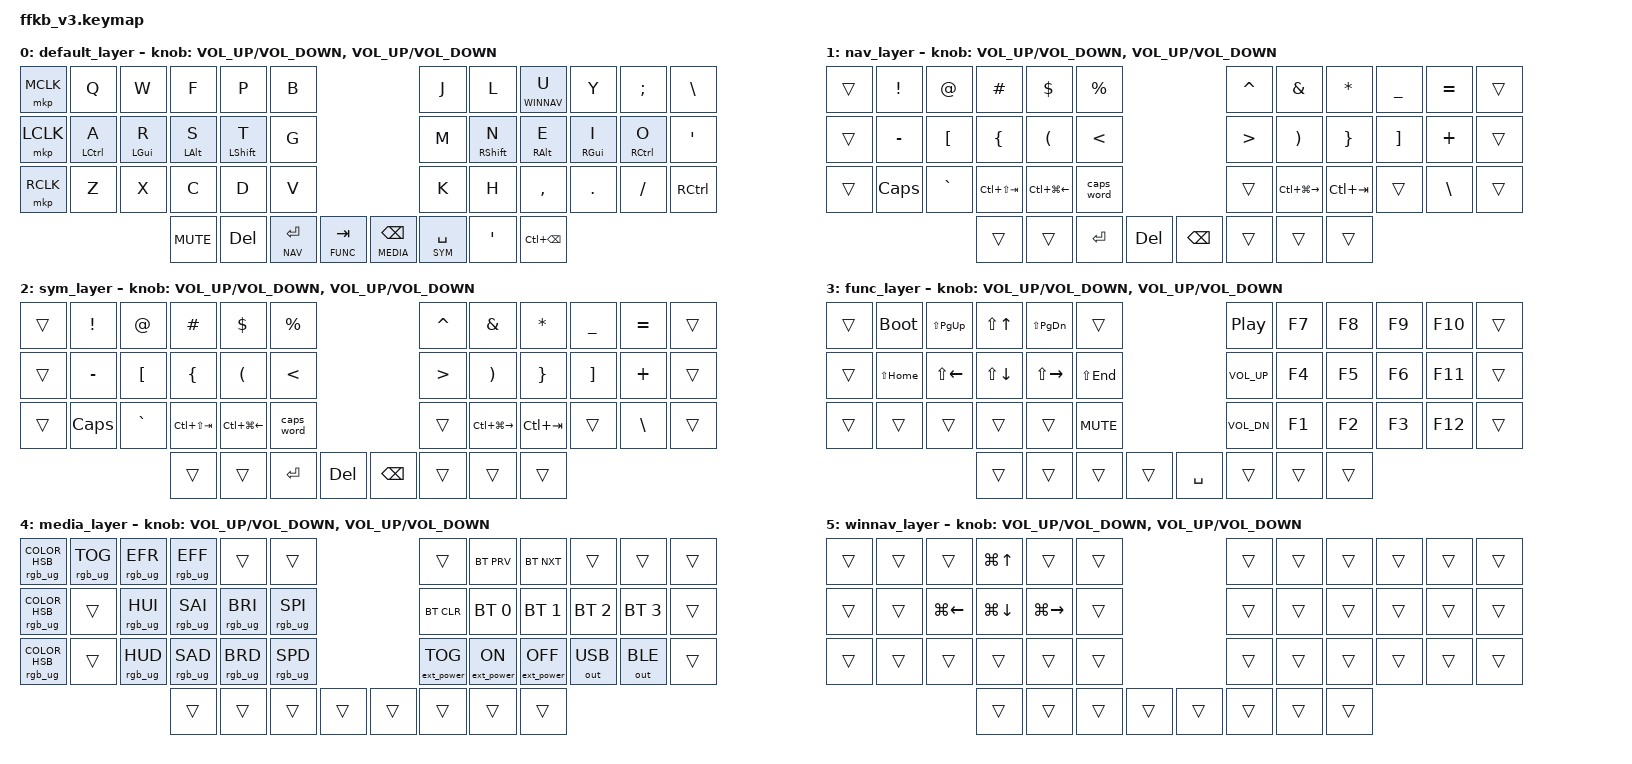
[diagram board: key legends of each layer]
/*
 * Copyright (c) 2020 The ZMK Contributors
 *
 * SPDX-License-Identifier: MIT
 */

 #include <behaviors.dtsi>
 #include <dt-bindings/zmk/keys.h>
 #include <dt-bindings/zmk/bt.h>
 #include <dt-bindings/zmk/ext_power.h>
 #include <dt-bindings/zmk/outputs.h>
 #include <dt-bindings/zmk/mouse.h>
 #include <dt-bindings/zmk/rgb.h>
 #include <behaviors/mouse_keys.dtsi>
 
 #define DEFAULT 0
 #define NAV     1
 #define SYM     2
 #define FUNC    3
 #define MEDIA   4
 #define WINNAV  5
 
 &caps_word {
     continue-list = <UNDERSCORE MINUS>;
 };
 
 / {
     combos {
         compatible = "zmk,combos";
         combo_undo {
             timeout-ms = <50>;
             key-positions = <25 26>;
             bindings = <&kp LC(Z)>;
         };
     };
 };
 
 / {
    
    sensors {
        compatible = "zmk,keymap-sensors";
        sensors = <&encoder_1 &encoder_2>;
        triggers-per-rotation = <20>;
    };
    
     behaviors {
         hm: homerow_mods {
             compatible = "zmk,behavior-hold-tap";
             #binding-cells = <2>;
             tapping-term-ms = <200>;
             flavor = "tap-preferred";
             bindings = <&kp>, <&kp>;
         };
         hs: homerow_shift {
             compatible = "zmk,behavior-hold-tap";
             #binding-cells = <2>;
             tapping-term-ms = <175>;
             flavor = "balanced";
             bindings = <&kp>, <&kp>;
         };
     };
 
     keymap {
         compatible = "zmk,keymap";
 
         default_layer {
            sensor-bindings = <&inc_dec_kp C_VOLUME_UP C_VOLUME_DOWN &inc_dec_kp C_VOLUME_UP C_VOLUME_DOWN>;

            bindings = <
                &mkp MCLK  &kp Q        &kp W        &kp F       &kp P         &kp B                                       &kp J         &kp L        &lt WINNAV U  &kp Y       &kp SEMI    &kp BSLH
                &mkp LCLK  &hm LCTL A   &hm LGUI R   &hm LALT S  &hs LSHIFT T  &kp G                                       &kp M         &hs RSHIFT N &hm RALT E    &hm RGUI I  &hm RCTL O  &kp SQT
                &mkp RCLK  &kp Z        &kp X        &kp C       &kp D         &kp V                                       &kp K         &kp H        &kp COMMA     &kp DOT     &kp FSLH    &kp RCTRL
                                                     &kp C_MUTE  &kp DEL       &lt NAV RET  &lt FUNC TAB  &lt MEDIA BSPC   &lt SYM SPACE &kp SQT      &kp LC(BSPC)
            >;
         };
 
         nav_layer {
            sensor-bindings = <&inc_dec_kp C_VOLUME_UP C_VOLUME_DOWN &inc_dec_kp C_VOLUME_UP C_VOLUME_DOWN>;

             bindings = <
                &trans     &kp EXCL     &kp AT       &kp HASH        &kp DLLR         &kp PRCNT                                   &kp CARET     &kp AMPS          &kp ASTRK     &kp UNDER   &kp EQUAL   &trans
                &trans     &kp MINUS    &kp LBKT     &kp LBRC        &kp LPAR         &kp LT                                      &kp GT        &kp RPAR          &kp RBRC      &kp RBKT    &kp PLUS    &trans
                &trans     &kp CAPS     &kp GRAVE    &kp LC(LS(TAB)) &kp LC(LG(LEFT)) &caps_word                                  &trans        &kp LC(LG(RIGHT)) &kp LC(TAB)   &trans      &kp BSLH    &trans
                                                     &trans          &trans           &kp RET       &kp DEL        &kp BSPC       &trans        &trans            &trans
             >;
         };
 
         sym_layer {
            sensor-bindings = <&inc_dec_kp C_VOLUME_UP C_VOLUME_DOWN &inc_dec_kp C_VOLUME_UP C_VOLUME_DOWN>;

            bindings = <
                &trans     &kp EXCL     &kp AT       &kp HASH        &kp DLLR         &kp PRCNT                                   &kp CARET     &kp AMPS          &kp ASTRK     &kp UNDER   &kp EQUAL   &trans
                &trans     &kp MINUS    &kp LBKT     &kp LBRC        &kp LPAR         &kp LT                                      &kp GT        &kp RPAR          &kp RBRC      &kp RBKT    &kp PLUS    &trans
                &trans     &kp CAPS     &kp GRAVE    &kp LC(LS(TAB)) &kp LC(LG(LEFT)) &caps_word                                  &trans        &kp LC(LG(RIGHT)) &kp LC(TAB)   &trans      &kp BSLH    &trans
                                                     &trans          &trans           &kp RET       &kp DEL        &kp BSPC       &trans        &trans            &trans
            >;
         };
 
         func_layer {
            sensor-bindings = <&inc_dec_kp C_VOLUME_UP C_VOLUME_DOWN &inc_dec_kp C_VOLUME_UP C_VOLUME_DOWN>;

            bindings = <
                &trans     &bootloader  &kp LS(PG_UP) &kp LS(UP)   &kp LS(PG_DN) &trans                                      &kp C_PLAY_PAUSE &kp F7       &kp F8        &kp F9      &kp F10     &trans
                &trans     &kp LS(HOME) &kp LS(LEFT)  &kp LS(DOWN) &kp LS(RIGHT) &kp LS(END)                                 &kp K_VOL_UP     &kp F4       &kp F5        &kp F6      &kp F11     &trans
                &trans     &trans       &trans        &trans       &trans        &kp C_MUTE                                  &kp K_VOL_DN     &kp F1       &kp F2        &kp F3      &kp F12     &trans
                                                      &trans       &trans        &trans        &trans          &kp SPACE     &trans           &trans       &trans
            >;
         };
 
         media_layer {
            sensor-bindings = <&inc_dec_kp C_VOLUME_UP C_VOLUME_DOWN &inc_dec_kp C_VOLUME_UP C_VOLUME_DOWN>;

            bindings = <
                &rgb_ug RGB_COLOR_HSB(0,0,100)         &rgb_ug RGB_TOG  &rgb_ug RGB_EFR  &rgb_ug RGB_EFF &trans            &trans                            &trans             &bt BT_PRV        &bt BT_NXT         &trans         &trans          &trans
                &rgb_ug RGB_COLOR_HSB(224,100,100)     &trans           &rgb_ug RGB_HUI  &rgb_ug RGB_SAI &rgb_ug RGB_BRI   &rgb_ug RGB_SPI                   &bt BT_CLR         &bt BT_SEL 0      &bt BT_SEL 1       &bt BT_SEL 2   &bt BT_SEL 3    &trans
                &rgb_ug RGB_COLOR_HSB(278,100,100)     &trans           &rgb_ug RGB_HUD  &rgb_ug RGB_SAD &rgb_ug RGB_BRD   &rgb_ug RGB_SPD                   &ext_power EP_TOG  &ext_power EP_ON  &ext_power EP_OFF  &out OUT_USB   &out OUT_BLE    &trans
                                                                                        &trans          &trans            &trans        &trans         &trans         &trans           &trans     &trans
            >;
         };
 
         winnav_layer {
            sensor-bindings = <&inc_dec_kp C_VOLUME_UP C_VOLUME_DOWN &inc_dec_kp C_VOLUME_UP C_VOLUME_DOWN>;

            bindings = <
                &trans     &trans       &trans       &kp LG(UP)   &trans        &trans                                      &trans      &trans      &trans      &trans      &trans      &trans
                &trans     &trans       &kp LG(LEFT) &kp LG(DOWN) &kp LG(RIGHT) &trans                                      &trans      &trans      &trans      &trans      &trans      &trans
                &trans     &trans       &trans       &trans       &trans        &trans                                      &trans      &trans      &trans      &trans      &trans      &trans
                                                     &trans       &trans        &trans        &trans         &trans         &trans      &trans      &trans
            >;
         };
     };
 };
 

